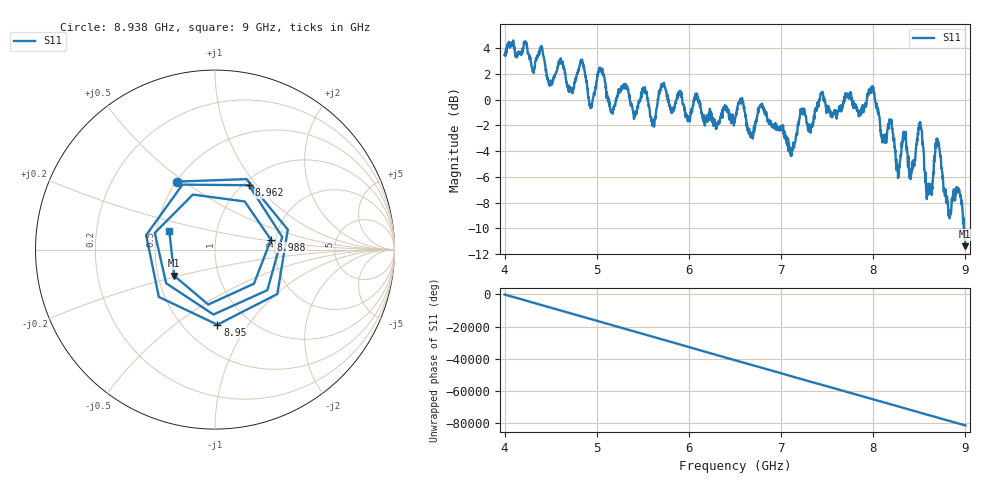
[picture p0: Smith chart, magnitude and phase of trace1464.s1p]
! Created with skrf 1.8.0 (http://scikit-rf.org).
# Hz S RI R 50.0
!freq ReS11 ImS11
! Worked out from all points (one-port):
!   1601 points, 4 GHz to 9 GHz, reference 50 ohm
!   lowest |S11| = -11.4 dB at 8.997 GHz (marker M1), VSWR 1.74, Z = 30.4 - j9.55 ohm
!   |S11| at or under -10 dB: 8.983779 GHz to 8.98734 GHz (3.561 MHz wide, 0.0396 % of centre); 8.988022 GHz to end of sweep
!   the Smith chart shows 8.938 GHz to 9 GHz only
!   S11 on the Smith chart (normalised r, x): 8.938 GHz: 0.50, +0.47; 8.95 GHz: 0.72, -0.73; 8.962 GHz: 1.06, +0.91; 8.988 GHz: 1.89, +0.23; 9 GHz: 0.58, +0.13
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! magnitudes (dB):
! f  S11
! 4 GHz  3.4
! 4.625 GHz  2.9
! 4.719 GHz  0.6
! 4.844 GHz  3.0
! 4.931 GHz  -0.7
! 5.038 GHz  2.4
! 5.159 GHz  -1.0
! 5.25 GHz  0.8
! 5.612 GHz  -1.7
! 5.712 GHz  1.0
! 5.875 GHz  0.4
! 6.5 GHz  -1.5
! 7.125 GHz  -3.9
! 7.228 GHz  -0.8
! 7.75 GHz  0.6
! 7.988 GHz  0.9
! 8.262 GHz  -5.3
! 8.375 GHz  -5.0
! 8.506 GHz  -1.7
! 8.591 GHz  -6.7
! 8.697 GHz  -3.1
! 8.819 GHz  -8.9
! 8.938 GHz  -7.3
! 8.95 GHz  -7.6
! 8.962 GHz  -7.8
! 8.988 GHz  -10.0
! 8.997 GHz  -11.4
! 9 GHz  -11.2
